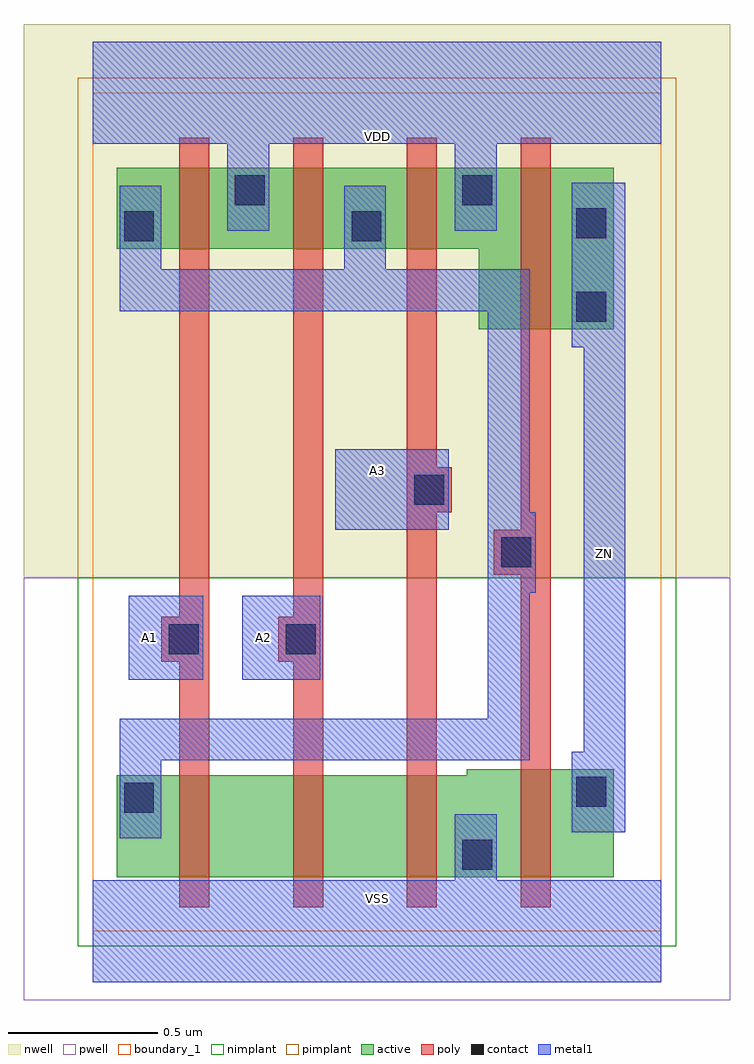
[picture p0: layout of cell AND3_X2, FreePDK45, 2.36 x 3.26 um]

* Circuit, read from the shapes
.subckt AND3_X2 A1 A2 A3 VDD VSS ZN
M1 n1 A1 n2 VSUBS nfet w=0.34u l=0.1u
M2 n3 A2 n1 VSUBS nfet w=0.34u l=0.1u
M3 VSS A3 n3 VSUBS nfet w=0.34u l=0.1u
M4 ZN n2 VSS VSUBS nfet w=0.36u l=0.1u
M5 VDD A1 n2 n4 pfet w=0.27u l=0.1u
M6 n2 A2 VDD n4 pfet w=0.27u l=0.1u
M7 VDD A3 n2 n4 pfet w=0.27u l=0.1u
M8 ZN n2 VDD n4 pfet w=0.54u l=0.1u
.ends

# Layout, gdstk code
import gdstk
lib = gdstk.Library(unit=1e-6, precision=1e-09)
def R(c, l, rs):  # rectangles x0, y0, x1, y1
    for r in rs: c.add(gdstk.rectangle(r[:2], r[2:], *l))
def P(c, l, *ps):  # polygons
    for p in ps: c.add(gdstk.Polygon(p, *l))
active = (1, 0)
pwell = (2, 0)
nwell = (3, 0)
nimplant = (4, 0)
pimplant = (5, 0)
poly = (9, 0)
contact = (10, 0)
metal1 = (11, 0)
boundary_1 = (235, 1)

and3_x2 = lib.new_cell('AND3_X2')
P(and3_x2, active, [(0.08,2.28),(1.29,2.28),(1.29,2.01),(1.74,2.01),(1.74,2.55),(0.08,2.55)],
  [(0.08,0.18),(1.74,0.18),(1.74,0.54),(1.25,0.54),(1.25,0.52),(0.08,0.52)])
R(and3_x2, pwell, [(-0.23,-0.23,2.13,1.18)])
R(and3_x2, nwell, [(-0.23,1.18,2.13,3.03)])
R(and3_x2, nimplant, [(-0.05,-0.05,1.95,1.18)])
R(and3_x2, pimplant, [(-0.05,1.18,1.95,2.85)])
P(and3_x2, poly, [(1.34,1.19),(1.43,1.19),(1.43,0.08),(1.53,0.08),(1.53,2.65),(1.43,2.65),(1.43,1.34),(1.34,1.34)],
  [(1.05,0.08),(1.15,0.08),(1.15,1.4),(1.2,1.4),(1.2,1.55),(1.15,1.55),(1.15,2.65),(1.05,2.65)],
  [(0.62,0.9),(0.67,0.9),(0.67,0.08),(0.77,0.08),(0.77,2.65),(0.67,2.65),(0.67,1.05),(0.62,1.05)],
  [(0.23,0.9),(0.29,0.9),(0.29,0.08),(0.39,0.08),(0.39,2.65),(0.29,2.65),(0.29,1.05),(0.23,1.05)])
R(and3_x2, contact, [(1.235,0.205,1.335,0.305), (0.105,0.395,0.205,0.495), (1.615,0.415,1.715,0.515), (0.255,0.925,0.355,1.025), (0.645,0.925,0.745,1.025), (1.365,1.215,1.465,1.315), (1.075,1.425,1.175,1.525), (1.615,2.035,1.715,2.135), (0.105,2.305,0.205,2.405), (0.865,2.305,0.965,2.405), (1.615,2.315,1.715,2.415), (0.475,2.425,0.575,2.525), (1.235,2.425,1.335,2.525)])
R(and3_x2, metal1, [(0.12,0.84,0.37,1.12), (0.12,0.84,0.37,1.12), (0.5,0.84,0.76,1.12), (0.5,0.84,0.76,1.12), (0.81,1.34,1.19,1.61), (0.81,1.34,1.19,1.61)])
P(and3_x2, metal1, [(1.6,1.95),(1.64,1.95),(1.64,0.6),(1.6,0.6),(1.6,0.33),(1.78,0.33),(1.78,2.5),(1.6,2.5)],
  [(0,-0.17),(1.9,-0.17),(1.9,0.17),(1.35,0.17),(1.35,0.39),(1.21,0.39),(1.21,0.17),(0,0.17)],
  [(0,2.63),(0.45,2.63),(0.45,2.34),(0.59,2.34),(0.59,2.63),(1.21,2.63),(1.21,2.34),(1.35,2.34),(1.35,2.63),(1.9,2.63),(1.9,2.97),(0,2.97)],
  [(0,2.63),(0.45,2.63),(0.45,2.34),(0.59,2.34),(0.59,2.63),(1.21,2.63),(1.21,2.34),(1.35,2.34),(1.35,2.63),(1.9,2.63),(1.9,2.97),(0,2.97)],
  [(0,-0.17),(1.9,-0.17),(1.9,0.17),(1.35,0.17),(1.35,0.39),(1.21,0.39),(1.21,0.17),(0,0.17)],
  [(1.6,1.95),(1.64,1.95),(1.64,0.6),(1.6,0.6),(1.6,0.33),(1.78,0.33),(1.78,2.5),(1.6,2.5)],
  [(0.09,2.07),(1.32,2.07),(1.32,0.71),(0.09,0.71),(0.09,0.31),(0.23,0.31),(0.23,0.57),(1.46,0.57),(1.46,1.13),(1.48,1.13),(1.48,1.4),(1.46,1.4),(1.46,2.21),(0.98,2.21),(0.98,2.49),(0.84,2.49),(0.84,2.21),(0.23,2.21),(0.23,2.49),(0.09,2.49)])
R(and3_x2, boundary_1, [(0,0,1.9,2.8)])
and3_x2.add(gdstk.Label('ZN', (1.71,1.26), layer=11, texttype=0))
and3_x2.add(gdstk.Label('VSS', (0.95,0.11), layer=11, texttype=0))
and3_x2.add(gdstk.Label('VDD', (0.95,2.655), layer=11, texttype=0))
and3_x2.add(gdstk.Label('A3', (0.95,1.54), layer=11, texttype=0))
and3_x2.add(gdstk.Label('A2', (0.57,0.98), layer=11, texttype=0))
and3_x2.add(gdstk.Label('A1', (0.19,0.98), layer=11, texttype=0))

lib.write_gds('AND3_X2.gds')
